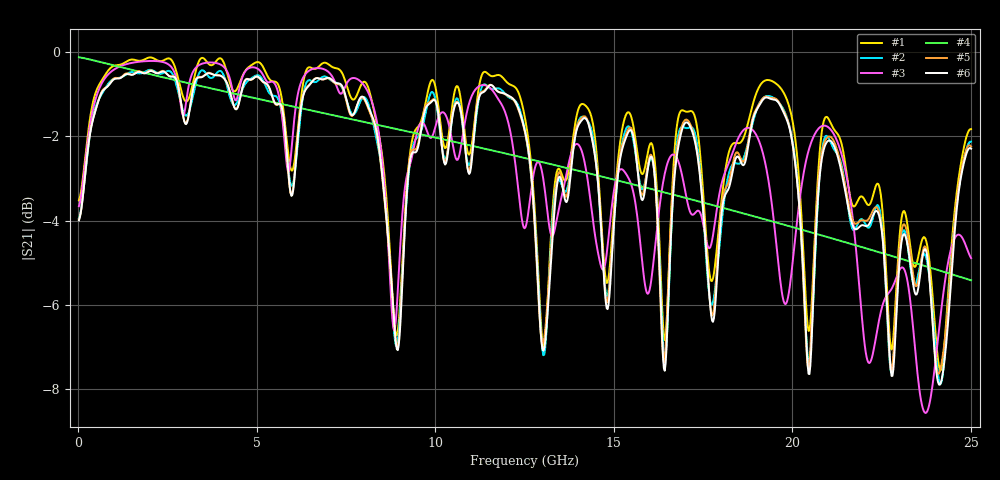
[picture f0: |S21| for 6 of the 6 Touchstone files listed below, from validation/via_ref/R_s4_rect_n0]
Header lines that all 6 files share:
# Hz S RI R 50
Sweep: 25 MHz to 25 GHz
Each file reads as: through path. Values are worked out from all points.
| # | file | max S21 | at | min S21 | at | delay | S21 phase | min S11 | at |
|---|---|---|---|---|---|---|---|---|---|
| 1 | deembedded.s2p | -0.13 dB | 2.025 GHz | -7.6 dB | 24.15 GHz | 11.6 ps | -77 deg at 12.53 GHz | -56.2 dB | 2.125 GHz |
| 2 | kisi.s2p | -0.42 dB | 2.025 GHz | -7.9 dB | 24.15 GHz | 61.8 ps | 59 deg at 12.53 GHz | -35.9 dB | 3.775 GHz |
| 3 | ladder_grid.s2p | -0.21 dB | 2.075 GHz | -8.6 dB | 23.73 GHz | 12.2 ps | -64 deg at 12.53 GHz | -51.7 dB | 3.55 GHz |
| 4 | ladder_inf.s2p | -0.12 dB | 25 MHz | -5.4 dB | 25 GHz | 11.6 ps | -60 deg at 12.53 GHz | -37.5 dB | 50 MHz |
| 5 | openems.s2p | -0.43 dB | 2.025 GHz | -7.6 dB | 24.07 GHz | 62.1 ps | 58 deg at 12.53 GHz | -39.3 dB | 3.475 GHz |
| 6 | openems_base.s2p | -0.45 dB | 2.05 GHz | -7.9 dB | 24.12 GHz | 63.5 ps | 52 deg at 12.53 GHz | -44.3 dB | 4.675 GHz |
